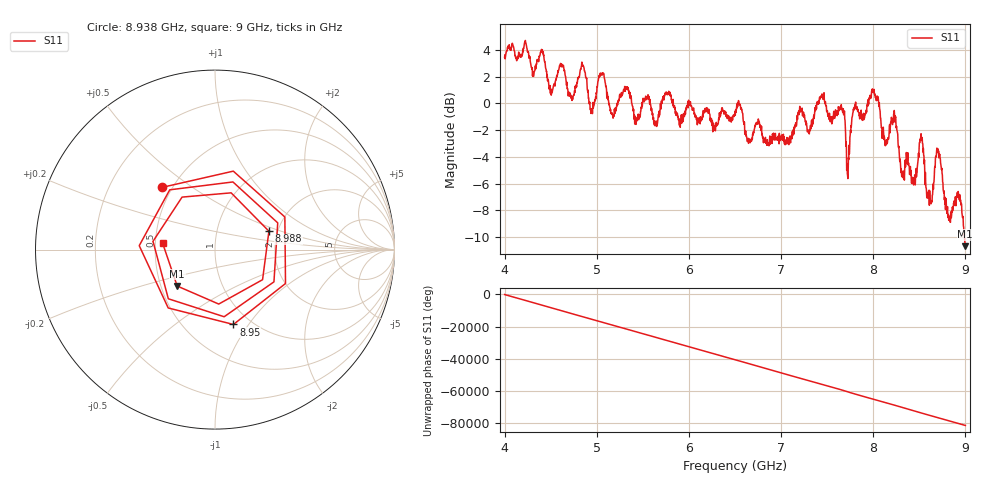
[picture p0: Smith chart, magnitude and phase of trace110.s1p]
! Created with skrf 1.8.0 (http://scikit-rf.org).
# Hz S RI R 50.0
!freq ReS11 ImS11
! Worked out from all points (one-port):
!   1601 points, 4 GHz to 9 GHz, reference 50 ohm
!   lowest |S11| = -10.7 dB at 8.997 GHz (marker M1), VSWR 1.83, Z = 30.3 - j13.5 ohm
!   |S11| at or under -10 dB: 8.988943 GHz to end of sweep
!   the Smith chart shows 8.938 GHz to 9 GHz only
!   S11 on the Smith chart (normalised r, x): 8.938 GHz: 0.44, +0.38; 8.95 GHz: 0.83, -0.85; 8.988 GHz: 1.80, +0.41; 9 GHz: 0.55, +0.04
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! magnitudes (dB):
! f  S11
! 4 GHz  3.4
! 4.403 GHz  4.0
! 4.506 GHz  0.6
! 4.625 GHz  2.7
! 4.728 GHz  0.5
! 4.85 GHz  2.9
! 4.941 GHz  -0.4
! 5.053 GHz  2.2
! 5.162 GHz  -0.8
! 5.25 GHz  0.7
! 5.875 GHz  -0.8
! 6.5 GHz  -0.6
! 7.125 GHz  -2.4
! 7.441 GHz  0.6
! 7.75 GHz  -2.4
! 8.003 GHz  1.0
! 8.122 GHz  -2.6
! 8.375 GHz  -3.7
! 8.447 GHz  -5.8
! 8.525 GHz  -2.7
! 8.616 GHz  -7.2
! 8.703 GHz  -3.4
! 8.822 GHz  -8.5
! 8.938 GHz  -6.8
! 8.95 GHz  -7.3
! 8.988 GHz  -10.0
! 8.997 GHz  -10.7
! 9 GHz  -10.6
